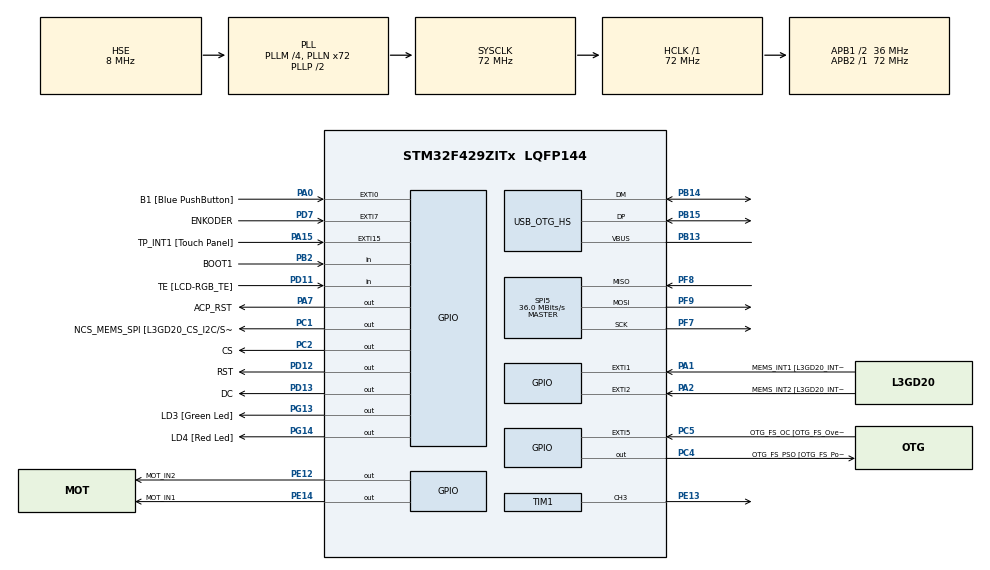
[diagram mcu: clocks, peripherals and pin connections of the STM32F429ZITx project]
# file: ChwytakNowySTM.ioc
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Mcu.Family=STM32F4
Mcu.Name=STM32F429ZITx
Mcu.Package=LQFP144
NVIC.EXTI9_5_IRQn=true\:0\:0\:false\:false\:true\:true\:true
NVIC.OTG_HS_IRQn=true\:0\:0\:false\:false\:true\:false\:true
NVIC.PriorityGroup=NVIC_PRIORITYGROUP_0
PA0/WKUP.GPIO_Label=B1 [Blue PushButton]
PA0/WKUP.GPIO_ModeDefaultEXTI=GPIO_MODE_EVT_RISING
PA0/WKUP.GPIO_PuPd=GPIO_NOPULL
PA0/WKUP.Signal=GPXTI0
PA1.GPIO_Label=MEMS_INT1 [L3GD20_INT1]
PA1.GPIO_ModeDefaultEXTI=GPIO_MODE_EVT_RISING
PA1.GPIO_PuPd=GPIO_NOPULL
PA1.Signal=GPXTI1
PA15.GPIO_Label=TP_INT1 [Touch Panel]
PA15.GPIO_ModeDefaultEXTI=GPIO_MODE_EVT_RISING
PA15.GPIO_PuPd=GPIO_NOPULL
PA15.Signal=GPXTI15
PA2.GPIO_Label=MEMS_INT2 [L3GD20_INT2]
PA2.GPIO_ModeDefaultEXTI=GPIO_MODE_EVT_RISING
PA2.GPIO_PuPd=GPIO_NOPULL
PA2.Signal=GPXTI2
PA7.GPIO_Label=ACP_RST
PA7.GPIO_Mode=GPIO_MODE_OUTPUT_PP
PA7.GPIO_PuPd=GPIO_NOPULL
PA7.GPIO_Speed=GPIO_SPEED_FREQ_LOW
PA7.Signal=GPIO_Output
PB13.Mode=Activate_VBUS_FS
PB13.Signal=USB_OTG_HS_VBUS
PB14.Mode=Host_FS
PB14.Signal=USB_OTG_HS_DM
PB15.Mode=Host_FS
PB15.Signal=USB_OTG_HS_DP
PB2/BOOT1.GPIO_Label=BOOT1
PB2/BOOT1.GPIO_Mode=GPIO_MODE_INPUT
PB2/BOOT1.GPIO_PuPd=GPIO_NOPULL
PB2/BOOT1.Signal=GPIO_Input
PC1.GPIO_Label=NCS_MEMS_SPI [L3GD20_CS_I2C/SPI]
PC1.GPIO_Mode=GPIO_MODE_OUTPUT_PP
PC1.GPIO_PuPd=GPIO_NOPULL
PC1.GPIO_Speed=GPIO_SPEED_FREQ_LOW
PC1.Signal=GPIO_Output
PC14/OSC32_IN.GPIO_Label=PC14-OSC32_IN
PC14/OSC32_IN.Signal=RCC_OSC32_IN
PC15/OSC32_OUT.GPIO_Label=PC15-OSC32_OUT
PC15/OSC32_OUT.Signal=RCC_OSC32_OUT
PC2.GPIO_Label=CS
PC2.GPIO_Mode=GPIO_MODE_OUTPUT_PP
PC2.GPIO_PuPd=GPIO_NOPULL
PC2.GPIO_Speed=GPIO_SPEED_FREQ_LOW
PC2.Signal=GPIO_Output
PC4.GPIO_Label=OTG_FS_PSO [OTG_FS_PowerSwitchOn]
PC4.GPIO_Mode=GPIO_MODE_OUTPUT_PP
PC4.GPIO_PuPd=GPIO_NOPULL
PC4.GPIO_Speed=GPIO_SPEED_FREQ_LOW
PC4.PinState=GPIO_PIN_RESET
PC4.Signal=GPIO_Output
PC5.GPIO_Label=OTG_FS_OC [OTG_FS_OverCurrent]
PC5.GPIO_ModeDefaultEXTI=GPIO_MODE_EVT_RISING
PC5.Signal=GPXTI5
PD11.GPIO_Label=TE [LCD-RGB_TE]
PD11.GPIO_Mode=GPIO_MODE_INPUT
PD11.GPIO_PuPd=GPIO_NOPULL
PD11.Signal=GPIO_Input
PD12.GPIO_Label=RST
PD12.GPIO_Mode=GPIO_MODE_OUTPUT_PP
PD12.GPIO_PuPd=GPIO_NOPULL
PD12.GPIO_Speed=GPIO_SPEED_FREQ_LOW
PD12.Signal=GPIO_Output
PD13.GPIO_Label=DC
PD13.GPIO_Mode=GPIO_MODE_OUTPUT_PP
PD13.GPIO_PuPd=GPIO_NOPULL
PD13.GPIO_Speed=GPIO_SPEED_FREQ_LOW
PD13.Signal=GPIO_Output
PD7.GPIO_Label=ENKODER
PD7.GPIO_ModeDefaultEXTI=GPIO_MODE_IT_RISING_FALLING
PD7.Signal=GPXTI7
PE12.GPIO_Label=MOT_IN2
PE12.Signal=GPIO_Output
PE13.GPIO_Speed=GPIO_SPEED_FREQ_HIGH
PE13.Signal=S_TIM1_CH3
PE14.GPIO_Label=MOT_IN1
PE14.Signal=GPIO_Output
PF10.GPIO_Label=ENABLE [LCD-RGB_ENABLE]
PF10.GPIO_Mode=GPIO_MODE_AF_PP
PF10.GPIO_PuPd=GPIO_NOPULL
PF10.GPIO_Speed=GPIO_SPEED_FREQ_VERY_HIGH
PF10.Signal=LTDC_DE
PF7.Mode=Full_Duplex_Master
PF7.Signal=SPI5_SCK
PF8.Mode=Full_Duplex_Master
PF8.Signal=SPI5_MISO
PF9.Mode=Full_Duplex_Master
PF9.Signal=SPI5_MOSI
PG13.GPIO_Label=LD3 [Green Led]
PG13.GPIO_Mode=GPIO_MODE_OUTPUT_PP
PG13.GPIO_PuPd=GPIO_NOPULL
PG13.GPIO_Speed=GPIO_SPEED_FREQ_LOW
PG13.Signal=GPIO_Output
PG14.GPIO_Label=LD4 [Red Led]
PG14.GPIO_Mode=GPIO_MODE_OUTPUT_PP
PG14.GPIO_PuPd=GPIO_NOPULL
PG14.GPIO_Speed=GPIO_SPEED_FREQ_LOW
PG14.Signal=GPIO_Output
PH0/OSC_IN.GPIO_Label=PH0-OSC_IN
PH0/OSC_IN.Mode=HSE-External-Oscillator
PH0/OSC_IN.Signal=RCC_OSC_IN
PH1/OSC_OUT.GPIO_Label=PH1-OSC_OUT
PH1/OSC_OUT.Mode=HSE-External-Oscillator
PH1/OSC_OUT.Signal=RCC_OSC_OUT
ProjectManager.HeapSize=0x200
ProjectManager.StackSize=0x400
ProjectManager.TargetToolchain=STM32CubeIDE
RCC.48MHZClocksFreq_Value=48000000
RCC.AHBFreq_Value=72000000
RCC.APB1CLKDivider=RCC_HCLK_DIV2
RCC.APB1Freq_Value=36000000
RCC.APB1TimFreq_Value=72000000
RCC.APB2Freq_Value=72000000
RCC.APB2TimFreq_Value=72000000
RCC.CortexFreq_Value=72000000
RCC.HCLKFreq_Value=72000000
RCC.HSE_VALUE=8000000
RCC.HSI_VALUE=16000000
RCC.LSE_VALUE=32768
RCC.PLLM=4
RCC.PLLN=72
RCC.PLLQ=3
RCC.PLLSAIN=50
RCC.SYSCLKFreq_VALUE=72000000
RCC.SYSCLKSource=RCC_SYSCLKSOURCE_PLLCLK
RCC.VCOOutputFreq_Value=144000000
SH.S_TIM1_CH3.0=TIM1_CH3,PWM Generation3 CH3
SPI5.CalculateBaudRate=36.0 MBits/s
SPI5.Direction=SPI_DIRECTION_2LINES
SPI5.Mode=SPI_MODE_MASTER
SPI5.VirtualType=VM_MASTER
TIM1.AutoReloadPreload=TIM_AUTORELOAD_PRELOAD_ENABLE
TIM1.Channel-PWM\ Generation3\ CH3=TIM_CHANNEL_3
TIM1.OC3Preload_PWM=ENABLE
TIM1.OCFastMode_PWM-PWM\ Generation3\ CH3=TIM_OCFAST_ENABLE
TIM1.Period=20000-1
TIM1.Prescaler=36-1
TIM1.Pulse-PWM\ Generation3\ CH3=10000-1
TIM2.Prescaler=90-1
USB_HOST.BSP.number=1
USB_HOST.USBH_HandleTypeDef-HID_HS=hUsbHostHS
USB_HOST.VirtualModeHS=Hid
USB_HOST0.BSP.STBoard=false
USB_HOST0.BSP.api=Unknown
USB_HOST0.BSP.i2caddr=0
USB_HOST0.BSP.instance=PC4
USB_HOST0.BSP.ip=GPIO
USB_HOST0.BSP.mode=Output
USB_HOST0.BSP.name=Drive_VBUS_HS
USB_HOST0.BSP.solution=PC4
USB_OTG_HS.VirtualMode-Host_FS=Host_FS
VP_TIM1_VS_ClockSourceINT.Mode=Internal
VP_TIM2_VS_ClockSourceINT.Mode=Internal
VP_USB_HOST_VS_USB_HOST_HID_HS.Mode=HID_HS
board=STM32F429I-DISC1

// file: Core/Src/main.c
/* USER CODE BEGIN Header */
/**
  ******************************************************************************
  * @file           : main.c
  * @brief          : Main program body
  ******************************************************************************
  * @attention
  *
  * Copyright (c) 2022 STMicroelectronics.
  * All rights reserved.
  *
  * This software is licensed under terms that can be found in the LICENSE file
  * in the root directory of this software component.
  * If no LICENSE file comes with this software, it is provided AS-IS.
  *
  ******************************************************************************
  */
/* USER CODE END Header */
#include "main.h"
#include "spi.h"
#include "tim.h"
#include "usb_host.h"
#include "gpio.h"

/* USER CODE BEGIN Includes */
// Magnetometry I2C
#include "QMC5883L.h"
#include "i2c_MA.h" // jednak nieużywane
#include "i2c_sw.h"

// Joystick USB
#include "usbh_hid.h"
#include "usbh_hid_joystick.h"
#include "usbh_def.h"

//LCD
#include "ILI9341/ILI9341_STM32_Driver.h"
#include "ILI9341/ILI9341_GFX.h"

/* USER CODE END Includes */

/* USER CODE BEGIN PD */
#define MOTOR_PWM_PERIOD 20000
//#define DEBUG_MAG // test if sensors work
//#define DEBUG_MOT // show motor dir
#define DEBUG_BOUNDS // check if boundaries are properly configured
/* USER CODE END PD */

/* USER CODE BEGIN PV */
// Data structures
extern HID_JOYSTICK_Info_TypeDef DJoyStick;
extern QMC5883L_Info_TypeDef SensorDown;
extern QMC5883L_Info_TypeDef SensorUp;
extern QMC5883L_Info_TypeDef SensorGrip1;
extern QMC5883L_Info_TypeDef SensorGrip2;
extern QMC5883L_Info_TypeDef SensorGrip3;

// Motor informations
volatile int impulses = 0;
volatile int impulses_max = 0;
volatile int impulses_min = 0;
volatile double dutyCycle = 0.55;
uint8_t isDown = 1;
char isUpS, isDownS;

// Haptic informations
float vibrationForce = 0;
int force = 8500;
char isForceReached = 0;
extern char canVibrate;

// magnetometer calibration
extern char isOffsetTableOn;
char isCalibrationOn = 0;

// LCD informations
long lastDrawTick = 0;
char charBuforNumber[6];
/* USER CODE END PV */

void SystemClock_Config(void);
void MX_USB_HOST_Process(void);

/* USER CODE BEGIN PFP */
void drawNumber(uint16_t number,uint16_t x, uint16_t y, uint32_t color,uint16_t size,uint32_t bgcolor)
{
	char isSignificant = 0;
	//char index = 0;
	charBuforNumber[5] = '\n';

	charBuforNumber[0] = number / 10000;
	charBuforNumber[1] = (number%10000)/1000;
	charBuforNumber[2] = (number%1000)/100;
	charBuforNumber[3] = (number%100)/10;
	charBuforNumber[4] = number%10;

	for(uint8_t i = 0 ;i<5 ;i++)
	{
		//charBuforNumber[i] = charBuforNumber[i] == 0 ? ' ' : charBuforNumber[i] + '0';
		if(charBuforNumber[i] == 0 && !isSignificant)
		{
			charBuforNumber[i] = ' ';
		} else if(charBuforNumber != 0)
		{
			//if(isSignificant == 0) {
				isSignificant = 1;
				//index = i;
			//}
			charBuforNumber[i] += '0';
		}
	}

	ILI9341_Draw_VarText(charBuforNumber, x, y, color, size, bgcolor);
}

void SendDataLCD()
{
  for(int i = 0; i<12;i++)
  {
	  if(DJoyStick.Button[i] == 1)
	  {
		  ILI9341_Draw_Filled_Rectangle_Coord(2+i*20, 20, 18+i*20, 30, GREEN);
	  } else
	  {
		  ILI9341_Draw_Filled_Rectangle_Coord(2+i*20, 20, 18+i*20, 30, RED);
	  }
  }
  int pixelsY = (236*DJoyStick.Y/1023);
  if(pixelsY != 0)
	  ILI9341_Draw_Rectangle(2, 62, pixelsY, 5, WHITE);
  if(pixelsY != 236)
	  ILI9341_Draw_Rectangle(2+pixelsY, 62, (236-pixelsY), 5, BLACK);

  int pixelsF = (236*(255-DJoyStick.Throttle)/255);
  if(pixelsF != 0)
	  ILI9341_Draw_Rectangle(2, 91, pixelsF, 5, WHITE);
  if(pixelsF != 236)
	  ILI9341_Draw_Rectangle(2+pixelsF, 91, (236-pixelsF), 5, BLACK);
  if(HAL_GetTick() - lastDrawTick > 100) {
	  drawNumber(abs(SensorGrip1.AxisZ), 10, 120, BLACK, 2, WHITE);
	  drawNumber(abs(SensorGrip2.AxisZ), 10, 160, BLACK, 2, WHITE);
	  drawNumber(abs(SensorGrip3.AxisZ), 10, 200, BLACK, 2, WHITE);
	  lastDrawTick = HAL_GetTick();
  }
}

void InterpretJoystickData()
{
  DJoyStick.X=DJoyStick.RAW_IN[0]&0x000003FF;
  DJoyStick.Y=1023-((DJoyStick.RAW_IN[0]>>10)&0x000003FF);
  DJoyStick.Z=((DJoyStick.RAW_IN[0]>>24)&0x000000FF);
  for(int i=0;i<8;i++)
	DJoyStick.Button[i]=(char)((DJoyStick.RAW_IN[1]>>i)&0x00000001);
  DJoyStick.Throttle=	(DJoyStick.RAW_IN[1]>>8)&0x000000FF;
  for(int i=8;i<13;i++)
	DJoyStick.Button[i]=(char)((DJoyStick.RAW_IN[1]>>i+8)&0x00000001);
  DJoyStick.Hat = (uint8_t)((DJoyStick.RAW_IN[0]>>20)&0xF);
  // Mechanical functions and sensors
  force = 80 + 1920 * (255.0-DJoyStick.Throttle) / 255.0;
  //vibrationForce = DJoyStick.Throttle / 255.0;
}

void calculateControl()
{
	if(DJoyStick.Y > 550)
	  {
		  if(!DJoyStick.Button[1])
			  dutyCycle = 0.45 + 0.35 * (DJoyStick.Y - 700.0) / 323.0;
		  else
			  dutyCycle = 0.9 + 0.1 * (DJoyStick.Y - 700.0) / 323.0;
		  isDown = 1;
	  }
	  else
	  {
		  if(!DJoyStick.Button[1])
			  dutyCycle = 0.45 + 0.35 * (-(DJoyStick.Y-400.0)) / 400.0;
		  else
			  dutyCycle = 0.9 + 0.1 * (-(DJoyStick.Y-400.0)) / 400.0;
		  isDown = 0;
	  }

	  if(dutyCycle < 0.45) dutyCycle = 0.45;
	  else if(dutyCycle > 1.0) dutyCycle = 1.0;

	  QMC5883L_UpdateAxisReadings();
	  if(isDown)
		  htim1.Instance->CCR3 = (int)(MOTOR_PWM_PERIOD*(dutyCycle-0.35)) - 1;
	  else
		  htim1.Instance->CCR3 = (int)(MOTOR_PWM_PERIOD*dutyCycle) - 1;
}
void checkBounds()
{
	  if(SensorUp.RawX > 0)
	  {
		  HAL_GPIO_WritePin(LD3_GPIO_Port, LD3_Pin, GPIO_PIN_SET);
		  isUpS = 1;
	  }
	  if(abs(SensorDown.RawX) > 25000)
	  {
		  HAL_GPIO_WritePin(LD4_GPIO_Port, LD4_Pin, GPIO_PIN_SET);
		  isDownS = 1;
	  }
}

void controlMotor()
{
	if(DJoyStick.Button[0])
	  {
		  if(isDown)
		  {
			  HAL_GPIO_WritePin(MOT_IN1_GPIO_Port, MOT_IN1_Pin, GPIO_PIN_SET);
			  HAL_GPIO_WritePin(MOT_IN2_GPIO_Port, MOT_IN2_Pin, GPIO_PIN_RESET);

			  HAL_GPIO_WritePin(LD3_GPIO_Port, LD3_Pin, GPIO_PIN_RESET);
			  isUpS = 0;
		  }
		  else
		  {
			  HAL_GPIO_WritePin(MOT_IN1_GPIO_Port, MOT_IN1_Pin, GPIO_PIN_RESET);
			  HAL_GPIO_WritePin(MOT_IN2_GPIO_Port, MOT_IN2_Pin, GPIO_PIN_SET);

			  HAL_GPIO_WritePin(LD4_GPIO_Port, LD4_Pin, GPIO_PIN_RESET);
			  isDownS = 0;
		  }
	  }
	  else
	  {
		  HAL_GPIO_WritePin(MOT_IN1_GPIO_Port, MOT_IN1_Pin, GPIO_PIN_RESET);
		  HAL_GPIO_WritePin(MOT_IN2_GPIO_Port, MOT_IN2_Pin, GPIO_PIN_RESET);
	  }
	  if(abs(SensorGrip1.AxisZ) > force ||
		 abs(SensorGrip2.AxisZ) > force ||
		 abs(SensorGrip3.AxisZ) > force)
	  {
		  isForceReached = 1;
	  }
	  else
		  isForceReached = 0;

	  if((isDown && isDownS) ||
		 (!isDown && isUpS) ||
		 (isForceReached) &&
		 isDown)
	  {
		  HAL_GPIO_WritePin(MOT_IN1_GPIO_Port, MOT_IN1_Pin, GPIO_PIN_RESET);
		  HAL_GPIO_WritePin(MOT_IN2_GPIO_Port, MOT_IN2_Pin, GPIO_PIN_RESET);
	  }
	  if(!isDown && isUpS)
	  {
		  QMC5883L_UpdateAxisReadings();
		  QMC5883L_UpdateOffset();
		  impulses_min = impulses;
	  } else if(isDown && isDownS)
	  {
		  impulses_max = impulses;
	  }
}
/* USER CODE END PFP */

int main(void)
{
  /* USER CODE BEGIN 1 */
  //QMC5583L_SetHandle(&hi2c1);
  /* USER CODE END 1 */

  /* MCU Configuration--------------------------------------------------------*/

  /* Reset of all peripherals, Initializes the Flash interface and the Systick. */
  HAL_Init();

  /* Configure the system clock */
  SystemClock_Config();

  /* USER CODE BEGIN SysInit */
  //FFInit();
  /* USER CODE END SysInit */

  /* Initialize all configured peripherals */
  MX_GPIO_Init();
  MX_TIM1_Init();
  MX_TIM2_Init();
  MX_USB_HOST_Init();
  MX_SPI5_Init();
  /* USER CODE BEGIN 2 */

  // Motor inits
  HAL_GPIO_WritePin(MOT_IN1_GPIO_Port, MOT_IN1_Pin, GPIO_PIN_RESET);
  HAL_GPIO_WritePin(MOT_IN2_GPIO_Port, MOT_IN2_Pin, GPIO_PIN_RESET);
  htim1.Instance->CCR3 = (int)(MOTOR_PWM_PERIOD*dutyCycle) - 1;
  HAL_TIM_PWM_Start(&htim1, TIM_CHANNEL_3);

  // sensor inits
  MAG_I2C_PinConfig();
  i2c_begin_state();
  HAL_TIM_Base_Start(&htim2);
  QMC5883L_Init();

  ILI9341_Init();
  ILI9341_Fill_Screen(BLACK);
  ILI9341_Set_Rotation(SCREEN_VERTICAL_2);
  ILI9341_Draw_Text("  Buttons  ", 0, 0, BLACK, 2, YELLOW);
  const char* numbers[12] = {"01","02","03","04","05","06","07","08","09","10","11","12"};

  for(int i=0;i<12;i++)
  {
	  ILI9341_Draw_Text(numbers[i], 5+i*20, 32, WHITE, 1, 0);
  }

  ILI9341_Draw_Text("  Axis  ", 0, 42, BLACK, 2, YELLOW);
  ILI9341_Draw_Hollow_Rectangle_Coord(0, 60, 239, 68, WHITE);
  ILI9341_Draw_Filled_Rectangle_Coord(2, 62, 237, 67, BLACK);
  ILI9341_Draw_Text("  Force  ", 0, 71, BLACK, 2, YELLOW);
  ILI9341_Draw_Hollow_Rectangle_Coord(0, 89, 239, 97, WHITE);
  ILI9341_Draw_Filled_Rectangle_Coord(2, 91, 237, 96, BLACK);
  ILI9341_Draw_Text("  Finger 1 sensor  ", 0, 100, BLACK, 2, YELLOW);
  ILI9341_Draw_Text("  Finger 2 sensor  ", 0, 140, BLACK, 2, YELLOW);
  ILI9341_Draw_Text("  Finger 3 sensor  ", 0, 180, BLACK, 2, YELLOW);

  ILI9341_Draw_Filled_Rectangle_Coord(0, 320-2*18, 240, 320, YELLOW);
  ILI9341_Draw_Text("gripper", 60, 295, BLACK, 3, YELLOW);
  ILI9341_Draw_Text("Haptic", 85, 285, BLACK, 2, YELLOW);
  //ILI9341_Draw_Vertical_Line(120, 0, 320, WHITE);

  /* USER CODE END 2 */

  /* Infinite loop */
  /* USER CODE BEGIN WHILE */
  while (1)
  {
	  ReadWriteJoyStick();
	  HAL_Delay(1);

	  InterpretJoystickData();
	  if(isForceReached && DJoyStick.Y > 700 && DJoyStick.Button[0])
	  {
		  canVibrate = 1;
	  }
	  else
	  {
		  canVibrate = 0;
	  }
	  Vibrate(0.8 + 0.2 * (DJoyStick.Y-700)/323);

	  // kalibracja wplywu sasiednich magnesow
	  // ------------------------------------
	  // aby rozpocząć należy wcisnąć przycisk 7 a następnie
	  // kontrolować ruch chwytaka w całym zakresie pracy
	  // na koniec zakończyć kalibracje poprzez przycisk 8
	  if(DJoyStick.Button[6])
		  isCalibrationOn = 1;
	  if(DJoyStick.Button[7])
		  isCalibrationOn = 0;
	  if(isCalibrationOn)
		  QMC5883L_UpdateOffsetTable();

	  // użycie danych z kalibracji
	  // --------------------------
	  // aby użyć danych z kalibracji wcisnąć przycisk 9
	  // aby wyłączyć dane z kalibracji wcisnąć przycisk 10
	  if(DJoyStick.Button[8])
		  isOffsetTableOn = 1;
	  if(DJoyStick.Button[9])
		  isOffsetTableOn = 0;

	  SendDataLCD();

	  calculateControl();
	  checkBounds();
	  controlMotor();

    /* USER CODE END WHILE */
    MX_USB_HOST_Process();

  }
}

void SystemClock_Config(void)
{
  RCC_OscInitTypeDef RCC_OscInitStruct = {0};
  RCC_ClkInitTypeDef RCC_ClkInitStruct = {0};

  /** Configure the main internal regulator output voltage
  */
  __HAL_RCC_PWR_CLK_ENABLE();
  __HAL_PWR_VOLTAGESCALING_CONFIG(PWR_REGULATOR_VOLTAGE_SCALE3);
  /** Initializes the RCC Oscillators according to the specified parameters
  * in the RCC_OscInitTypeDef structure.
  */
  RCC_OscInitStruct.OscillatorType = RCC_OSCILLATORTYPE_HSE;
  RCC_OscInitStruct.HSEState = RCC_HSE_ON;
  RCC_OscInitStruct.PLL.PLLState = RCC_PLL_ON;
  RCC_OscInitStruct.PLL.PLLSource = RCC_PLLSOURCE_HSE;
  RCC_OscInitStruct.PLL.PLLM = 4;
  RCC_OscInitStruct.PLL.PLLN = 72;
  RCC_OscInitStruct.PLL.PLLP = RCC_PLLP_DIV2;
  RCC_OscInitStruct.PLL.PLLQ = 3;
  if (HAL_RCC_OscConfig(&RCC_OscInitStruct) != HAL_OK)
  {
    Error_Handler();
  }
  /** Initializes the CPU, AHB and APB buses clocks
  */
  RCC_ClkInitStruct.ClockType = RCC_CLOCKTYPE_HCLK|RCC_CLOCKTYPE_SYSCLK
                              |RCC_CLOCKTYPE_PCLK1|RCC_CLOCKTYPE_PCLK2;
  RCC_ClkInitStruct.SYSCLKSource = RCC_SYSCLKSOURCE_PLLCLK;
  RCC_ClkInitStruct.AHBCLKDivider = RCC_SYSCLK_DIV1;
  RCC_ClkInitStruct.APB1CLKDivider = RCC_HCLK_DIV2;
  RCC_ClkInitStruct.APB2CLKDivider = RCC_HCLK_DIV1;

  if (HAL_RCC_ClockConfig(&RCC_ClkInitStruct, FLASH_LATENCY_2) != HAL_OK)
  {
    Error_Handler();
  }
}

void Error_Handler(void)
{
  __disable_irq();
  while (1)
  {
  }
}
